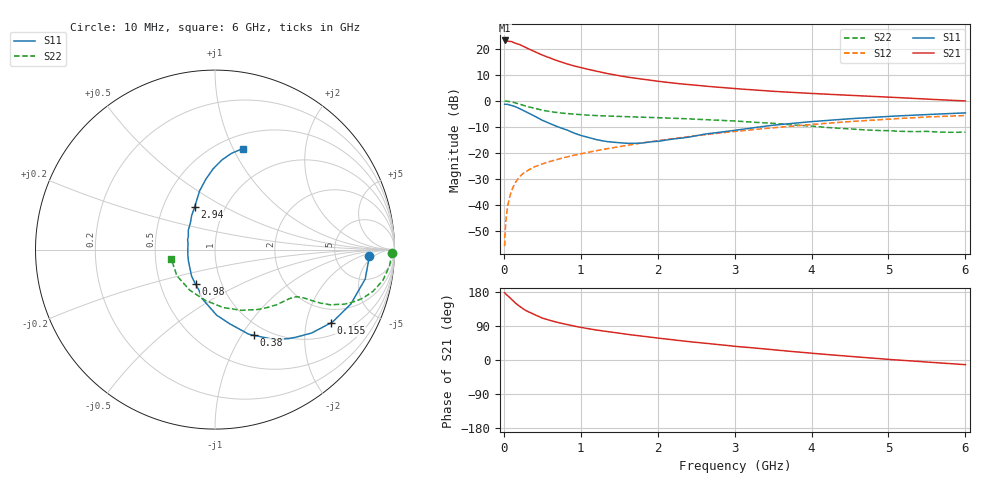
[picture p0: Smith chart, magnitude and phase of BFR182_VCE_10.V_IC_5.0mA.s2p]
! Infineon Technologies  Discrete & RF Semiconductors
! BFR182
! VCE =  10. V,  IC =  5.0 mA
! Common Emitter S-Parameters:  Nov 2015
# GHz  S  MA  R  50
!  f  S11  S21  S12  S22
! GHz  MAG  ANG  MAG  ANG  MAG  ANG  MAG  ANG
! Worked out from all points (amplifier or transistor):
!   210 points, 10 MHz to 6 GHz, reference 50 ohm
!   highest |S21| = 23.2 dB at 10 MHz (marker M1)
!   |S21| within 3 dB of that: start of sweep to 303.9 MHz
!   unconditionally stable (mu >= 1): 1.152 GHz to 3.038 GHz
!   at 185 MHz: K = 0.33, MSG = 25.9 dB, |S12| = -30.0 dB
!   at 1.52 GHz: K = 1.05, MAG = 12.2 dB, |S12| = -17.5 dB
!   at 6 GHz: K = 0.89, MSG = 2.8 dB, |S12| = -5.7 dB
!   S11 on the Smith chart (normalised r, x): 10 MHz: 12, -3; 155 MHz: 1.42, -2.78; 380 MHz: 0.86, -1.13; 980 MHz: 0.75, -0.30; 2.94 GHz: 0.72, +0.36; 6 GHz: 0.64, +1.09
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0.01  0.858 -2.2  14.44 177.5  0.0016 85.3  0.9862 -1.0
0.02  0.8574 -4.4  14.03 175.3  0.0036 80.6  0.9828 -2.2
0.04  0.853 -8.9  14.03 171.6  0.0075 81.6  0.9785 -4.3
0.05  0.8528 -11.1  14.05 169.7  0.0094 81.8  0.9768 -5.3
0.1  0.815 -21.9  13.74 160.0  0.0185 78.8  0.951 -10.4
0.155  0.7628 -32.4  12.71 149.5  0.0274 72.4  0.906 -15.1
0.2  0.7117 -40.7  12.13 142.3  0.0339 69.9  0.867 -18.2
0.26  0.6436 -50.4  11.06 133.8  0.0409 66.2  0.8114 -21.4
0.3  0.6034 -56.3  10.29 129.0  0.0448 65.0  0.7792 -23.0
0.38  0.5244 -65.6  9.078 121.6  0.052 62.4  0.727 -25.0
0.5  0.4214 -78.8  7.567 110.6  0.0609 60.7  0.6591 -26.9
0.6  0.3654 -88.6  6.622 104.4  0.0681 60.5  0.6179 -27.6
0.8  0.2822 -104.8  5.221 94.2  0.0818 60.4  0.5707 -28.4
0.98  0.2207 -119.4  4.416 86.8  0.094 60.9  0.5431 -29.2
1.02  0.2116 -123.4  4.272 85.4  0.0967 61.1  0.5378 -29.4
1.4  0.1607 -157.1  3.217 73.5  0.1238 61.9  0.5055 -32.1
2.02  0.1675 152.3  2.356 57.4  0.1727 60.5  0.4716 -38.8
2.94  0.2626 115.7  1.746 37.5  0.2518 55.0  0.4124 -53.7
3.1  0.2827 112.0  1.674 34.5  0.2661 53.6  0.3992 -57.0
4.1  0.4077 95.9  1.359 16.2  0.3595 44.2  0.3161 -85.3
5.1  0.5094 84.4  1.156 0.3  0.4524 32.6  0.2611 -126.3
6  0.5844 74.5  0.992 -12.3  0.5209 20.3  0.2493 -168.5
